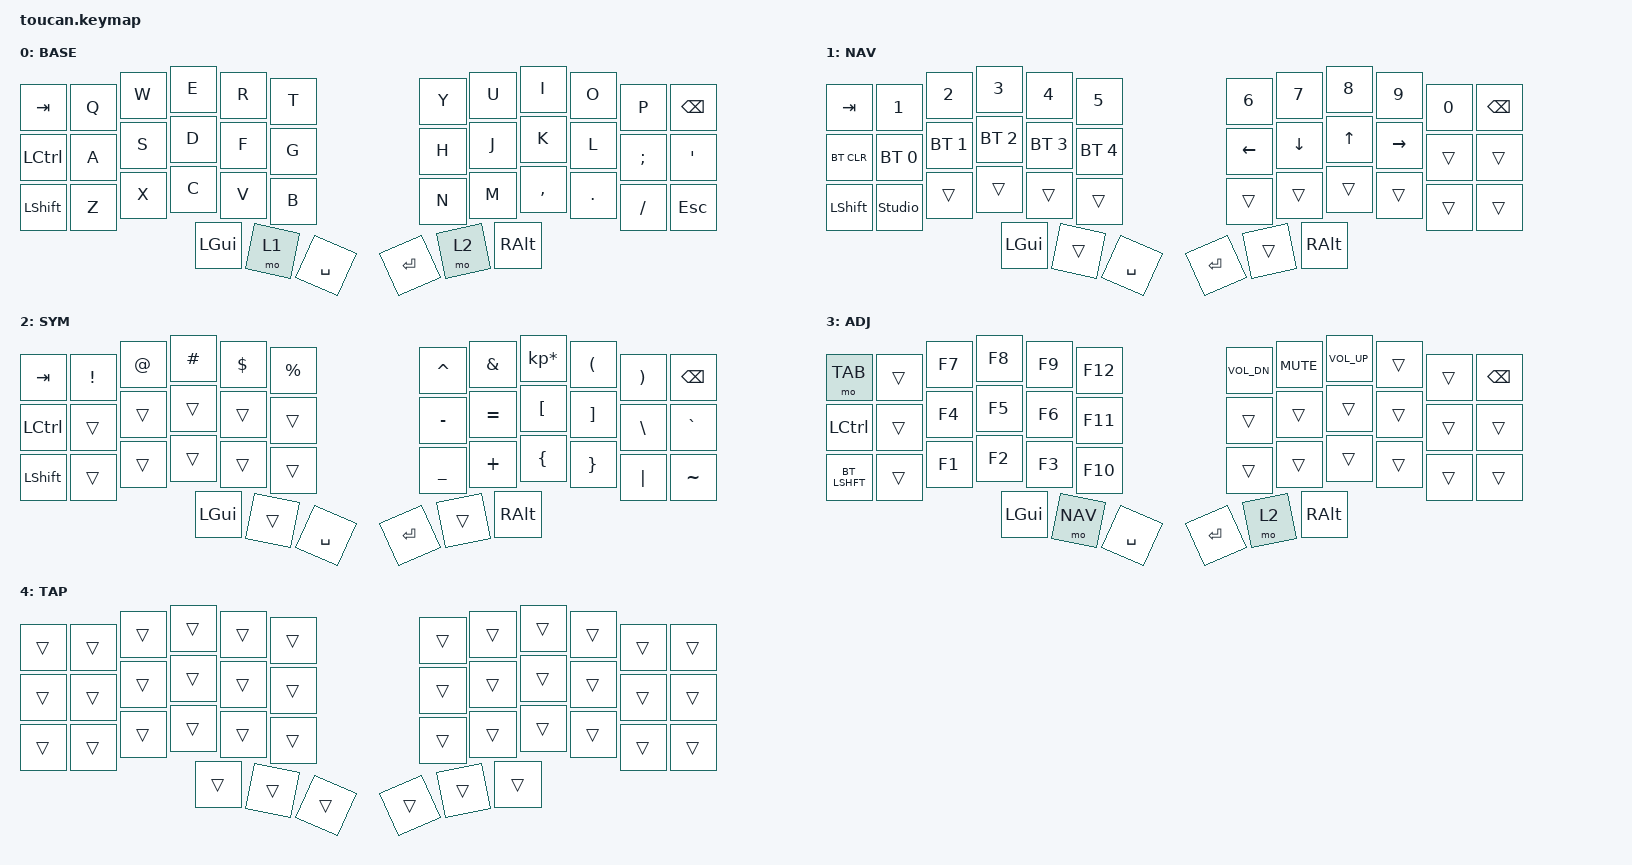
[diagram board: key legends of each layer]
#include <behaviors.dtsi>
#include <dt-bindings/zmk/keys.h>
#include <dt-bindings/zmk/bt.h>
#include <dt-bindings/zmk/outputs.h>
#include <zephyr/dt-bindings/input/input-event-codes.h>
#include <behaviors/input_processor_gestures.dtsi>

#define BASE 0
#define NAV  1
#define SYM  2
#define ADJ  3
#define TAP  4

/ {
    behaviors {
        tp_hold_tap_layer: tp_hold_tap_layer {
            compatible = "zmk,behavior-hold-tap";
            #binding-cells = <0>;
            flavor = "tap-preferred";
            tapping-term-ms = <220>;
            bindings = <&mo TAP &none>;
        };
    };

    input_processors {
        zip_touch_hold_layer: zip_touch_hold_layer {
            compatible = "zmk,input-processor-behaviors";
            #input-processor-cells = <0>;
            codes = <INPUT_BTN_TOUCH>;
            bindings = <&tp_hold_tap_layer>;
        };
    };

    conditional_layers {
        compatible = "zmk,conditional-layers";
        tri_layer {
            if-layers = <1 2>;
            then-layer = <3>;
        };
    };

    keymap {
        compatible = "zmk,keymap";

        base {
            display-name = "BASE";
            bindings = <
                &kp TAB   &kp Q &kp W &kp E &kp R &kp T   &kp Y &kp U  &kp I     &kp O   &kp P    &kp BSPC
                &kp LCTRL &kp A &kp S &kp D &kp F &kp G   &kp H &kp J  &kp K     &kp L   &kp SEMI &kp SQT
                &kp LSHFT &kp Z &kp X &kp C &kp V &kp B   &kp N &kp M  &kp COMMA &kp DOT &kp FSLH &kp ESC
                                &kp LGUI &mo 1 &kp SPACE   &kp RET &mo 2 &kp RALT
            >;
        };

        nav {
            display-name = "NAV";
            bindings = <
                &kp TAB     &kp N1          &kp N2       &kp N3       &kp N4       &kp N5         &kp N6   &kp N7   &kp N8 &kp N9    &kp N0 &kp BSPC
                &bt BT_CLR  &bt BT_SEL 0    &bt BT_SEL 1 &bt BT_SEL 2 &bt BT_SEL 3 &bt BT_SEL 4   &kp LEFT &kp DOWN &kp UP &kp RIGHT &trans &trans
                &kp LSHFT   &studio_unlock  &trans       &trans       &trans       &trans         &trans   &trans   &trans &trans    &trans &trans
                                                &kp LGUI     &trans       &kp SPACE      &kp RET  &trans   &kp RALT
            >;
        };

        sym {
            display-name = "SYM";
            bindings = <
                &kp TAB   &kp EXCL &kp AT &kp HASH &kp DLLR &kp PRCNT   &kp CARET &kp AMPS  &kp KP_MULTIPLY &kp LPAR &kp RPAR &kp BSPC
                &kp LCTRL &trans   &trans &trans   &trans   &trans      &kp MINUS &kp EQUAL &kp LBKT        &kp RBKT &kp BSLH &kp GRAVE
                &kp LSHFT &trans   &trans &trans   &trans   &trans      &kp UNDER &kp PLUS  &kp LBRC        &kp RBRC &kp PIPE &kp TILDE
                                          &kp LGUI &trans   &kp SPACE   &kp RET   &trans    &kp RALT
            >;
        };

        adj {
            display-name = "ADJ";
            bindings = <
                &mo TAB   &trans &kp F7 &kp F8 &kp F9 &kp F12   &kp C_VOL_DN &kp C_MUTE  &kp C_VOL_UP &trans &trans &kp BSPC
                &kp LCTRL &trans &kp F4 &kp F5 &kp F6 &kp F11   &trans       &trans      &trans       &trans &trans &trans
                &bt LSHFT &trans &kp F1 &kp F2 &kp F3 &kp F10   &trans       &trans      &trans       &trans &trans &trans
                                   &kp LGUI &mo NAV &kp SPACE   &kp RET &mo 2 &kp RALT
            >;
        };
        tap {
            display-name = "TAP";
            bindings = <
                &trans &trans &trans &trans &trans &trans   &trans &trans &trans &trans &trans &trans
                &trans &trans &trans &trans &trans &trans   &trans &trans &trans &trans &trans &trans
                &trans &trans &trans &trans &trans &trans   &trans &trans &trans &trans &trans &trans
                               &trans &trans &trans   &trans &trans &trans
            >;
        };

        extra_2 {
                status = "reserved";
        };

        extra_3 {
                status = "reserved";
        };
    };
};

&zip_gestures {
    tap-detection;
    tap-timout-ms = <150>;
    inertial-cursor;
    inertial-cursor-velocity-threshold-ms = <20>;
    inertial-cursor-decay-percent = <30>;
};

&glidepoint_listener {
    input-processors = <
        &zip_touch_hold_layer
        &zip_gestures
        &zip_xy_scaler 250 100
    >;
};
